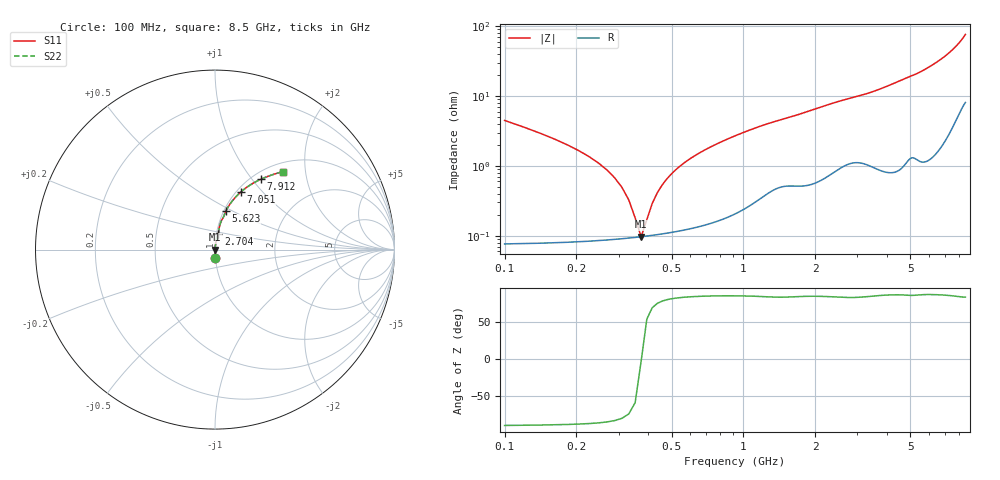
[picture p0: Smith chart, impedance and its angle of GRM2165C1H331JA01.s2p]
!Murata Part Number: GRM2165C1H331JA01
!These Parameters are Measured in Series Mode Connection
!Data Generated on Mar 30, 2021
!  o--ll--o
!Port1  Port2
!  o------o
!Operation Temp=25[degC], DC Bias Voltage=0[V]
!Freq. Start=100[MHz] Stop=9[GHz] 401[Steps]
# Hz S RI R 50
!Freq.(Hz) S11(Real) S11(Imag) S21(Real) S21(Imag) S12(Real) S12(Imag) S22(Real) S22(Imag)
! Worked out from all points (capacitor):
!   401 points, 100 MHz to 8.5 GHz, reference 50 ohm
!   read as one part in series: C = 330 pF near 142 MHz
!   lowest |Z| = 96.9 mohm at 373 MHz (marker M1)
!   series resonance near 373.6 MHz, so ESL is about 550 pH
!   S11 on the Smith chart (normalised r, x): 100 MHz: 1.00, -0.09; 2.704 GHz: 1.02, +0.18; 5.623 GHz: 1.02, +0.46; 7.051 GHz: 1.05, +0.76; 7.912 GHz: 1.10, +1.10; 8.5 GHz: 1.16, +1.51
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1e8  0.00276 -0.0446  0.9972 0.0446  0.9972 0.0446  0.00276 -0.0446
2.47e8  0.000972 -0.011  0.999 0.011  0.999 0.011  0.000972 -0.011
2.89e8  0.000931 -0.00668  0.9991 0.00668  0.9991 0.00668  0.000931 -0.00668
3.31e8  0.000935 -0.00312  0.9991 0.00312  0.9991 0.00312  0.000935 -0.00312
3.52e8  0.000948 -0.00153  0.9991 0.00153  0.9991 0.00153  0.000948 -0.00153
3.73e8  0.000967 -4.12e-05  0.999 4.12e-05  0.999 4.12e-05  0.000967 -4.12e-05
4.15e8  0.00102 0.00271  0.999 -0.00271  0.999 -0.00271  0.00102 0.00271
4.57e8  0.00109 0.00522  0.9989 -0.00522  0.9989 -0.00522  0.00109 0.00522
4.99e8  0.00117 0.00756  0.9988 -0.00756  0.9988 -0.00756  0.00117 0.00756
5.62e8  0.00132 0.0108  0.9987 -0.0108  0.9987 -0.0108  0.00132 0.0108
6.67e8  0.00162 0.0158  0.9984 -0.0158  0.9984 -0.0158  0.00162 0.0158
1.003e9  0.00328 0.03  0.9967 -0.03  0.9967 -0.03  0.00328 0.03
1.507e9  0.00733 0.0471  0.9927 -0.0471  0.9927 -0.0471  0.00733 0.0471
2.704e9  0.018 0.0872  0.982 -0.0872  0.982 -0.0872  0.018 0.0872
2.914e9  0.0198 0.093  0.9802 -0.093  0.9802 -0.093  0.0198 0.093
4.3e9  0.0306 0.1478  0.9694 -0.1478  0.9694 -0.1478  0.0306 0.1478
5.623e9  0.06 0.2141  0.94 -0.2141  0.94 -0.2141  0.06 0.2141
5.707e9  0.0627 0.2196  0.9373 -0.2196  0.9373 -0.2196  0.0627 0.2196
7.051e9  0.1426 0.3199  0.8574 -0.3199  0.8574 -0.3199  0.1426 0.3199
7.114e9  0.1486 0.3251  0.8514 -0.3251  0.8514 -0.3251  0.1486 0.3251
7.912e9  0.2541 0.3914  0.7459 -0.3914  0.7459 -0.3914  0.2541 0.3914
8.5e9  0.3795 0.4348  0.6205 -0.4348  0.6205 -0.4348  0.3795 0.4348
